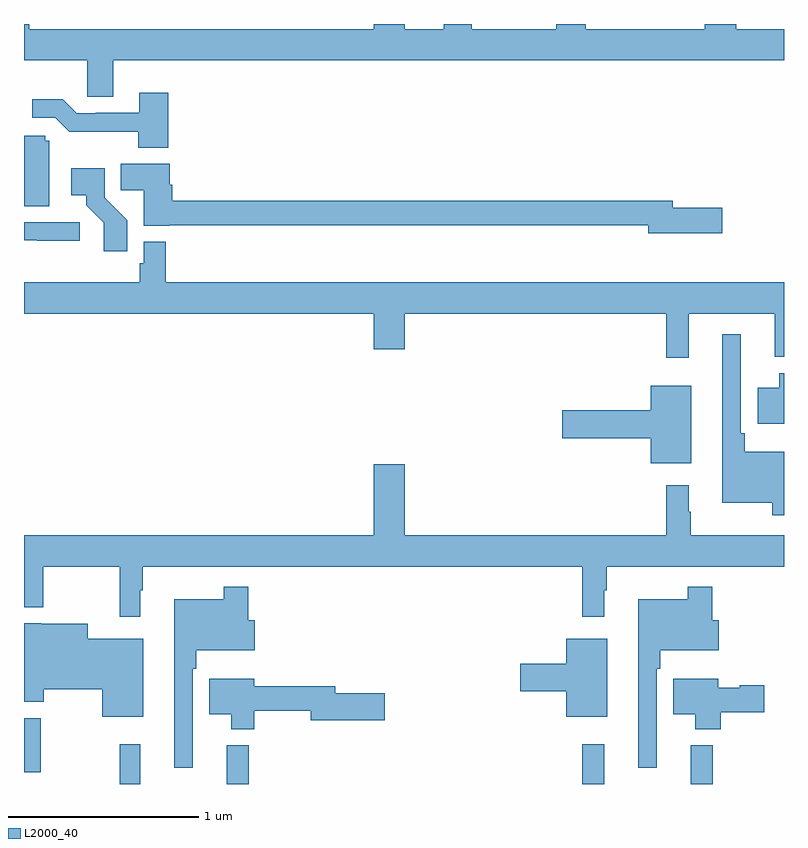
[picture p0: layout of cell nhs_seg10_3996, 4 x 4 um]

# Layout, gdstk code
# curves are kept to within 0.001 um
import gdstk
lib = gdstk.Library(unit=1e-6, precision=1e-09)
def R(c, l, rs):  # rectangles x0, y0, x1, y1
    for r in rs: c.add(gdstk.rectangle(r[:2], r[2:], *l))
def P(c, l, *ps):  # polygons
    for p in ps: c.add(gdstk.Polygon(p, *l))
L2000_40 = (2000, 40)

nhs_seg10_3996 = lib.new_cell('nhs_seg10_3996')
R(nhs_seg10_3996, L2000_40, [(331.503,1304.5,331.613,1304.71), (332.066,1304.5,332.183,1304.704), (333.937,1304.5,334.055,1304.71), (334.508,1304.5,334.625,1304.704), (331,1304.562,331.089,1304.847)])
P(nhs_seg10_3996, L2000_40, [(335,1308.472),(334.748,1308.472),(334.748,1308.5),(334.583,1308.5),(334.583,1308.472),(333.957,1308.472),(333.957,1308.5),(333.802,1308.5),(333.802,1308.472),(333.357,1308.472),(333.357,1308.5),(333.209,1308.5),(333.209,1308.472),(333.004,1308.472),(333.004,1308.5),(332.84,1308.5),(332.84,1308.472),(331.027,1308.472),(331.027,1308.5),(331,1308.5),(331,1308.308),(331.332,1308.308),(331.332,1308.118),(331.471,1308.118),(331.471,1308.308),(335,1308.308)],
  [(331.76,1308.139),(331.607,1308.139),(331.607,1308.033),(331.378,1308.033),(331.378,1308.03),(331.278,1308.03),(331.205,1308.103),(331.044,1308.103),(331.044,1308.006),(331.164,1308.006),(331.237,1307.933),(331.6,1307.934),(331.6,1307.849),(331.76,1307.849)],
  [(331.132,1307.886),(331.113,1307.886),(331.113,1307.913),(331,1307.913),(331,1307.542),(331.132,1307.542)],
  [(334.675,1307.534),(334.414,1307.534),(334.414,1307.57),(331.781,1307.57),(331.781,1307.654),(331.768,1307.654),(331.768,1307.764),(331.51,1307.764),(331.51,1307.626),(331.631,1307.626),(331.631,1307.438),(331.764,1307.438),(331.764,1307.442),(334.286,1307.442),(334.286,1307.399),(334.675,1307.399)],
  [(331.544,1307.466),(331.425,1307.585),(331.425,1307.74),(331.248,1307.74),(331.248,1307.6),(331.328,1307.6),(331.328,1307.545),(331.419,1307.455),(331.419,1307.304),(331.544,1307.304)],
  [(331.294,1307.457),(331,1307.457),(331,1307.361),(331.069,1307.361),(331.069,1307.359),(331.294,1307.359)],
  [(334.499,1306.976),(334.952,1306.976),(334.952,1306.748),(335,1306.748),(335,1307.14),(331.745,1307.14),(331.745,1307.353),(331.629,1307.353),(331.629,1307.241),(331.609,1307.241),(331.609,1307.14),(331,1307.14),(331,1306.976),(332.84,1306.976),(332.84,1306.788),(333.004,1306.788),(333.004,1306.976),(334.381,1306.976),(334.381,1306.743),(334.499,1306.743)],
  [(335,1306.249),(334.793,1306.249),(334.793,1306.345),(334.773,1306.345),(334.773,1306.867),(334.676,1306.867),(334.676,1305.98),(334.938,1305.98),(334.938,1305.915),(335,1305.915)],
  [(335,1306.663),(334.976,1306.663),(334.976,1306.585),(334.862,1306.585),(334.862,1306.397),(335,1306.397)],
  [(334.513,1306.597),(334.298,1306.597),(334.298,1306.466),(333.834,1306.466),(333.834,1306.319),(334.298,1306.319),(334.298,1306.187),(334.513,1306.187)],
  [(331.612,1305.521),(331.624,1305.521),(331.624,1305.644),(333.937,1305.644),(333.937,1305.381),(334.054,1305.381),(334.054,1305.521),(334.066,1305.521),(334.066,1305.644),(335,1305.644),(335,1305.808),(334.51,1305.808),(334.51,1305.932),(334.498,1305.932),(334.498,1306.072),(334.381,1306.072),(334.381,1305.808),(333.004,1305.808),(333.004,1306.183),(332.84,1306.183),(332.84,1305.808),(331,1305.808),(331,1305.431),(331.101,1305.431),(331.101,1305.644),(331.503,1305.644),(331.503,1305.381),(331.612,1305.381)],
  [(331.887,1305.107),(331.907,1305.107),(331.907,1305.203),(332.215,1305.203),(332.215,1305.361),(332.18,1305.361),(332.18,1305.538),(332.052,1305.538),(332.052,1305.472),(331.79,1305.472),(331.79,1304.586),(331.887,1304.586)],
  [(334.329,1305.107),(334.349,1305.107),(334.349,1305.203),(334.657,1305.203),(334.657,1305.361),(334.622,1305.361),(334.622,1305.538),(334.494,1305.538),(334.494,1305.472),(334.232,1305.472),(334.232,1304.586),(334.329,1304.586)],
  [(331.627,1305.265),(331.336,1305.265),(331.336,1305.343),(331.092,1305.343),(331.092,1305.346),(331,1305.346),(331,1304.932),(331.104,1304.932),(331.104,1304.999),(331.412,1304.999),(331.412,1304.855),(331.627,1304.855)],
  [(334.069,1305.265),(333.854,1305.265),(333.854,1305.134),(333.612,1305.134),(333.612,1304.987),(333.854,1304.987),(333.854,1304.855),(334.069,1304.855)],
  [(334.667,1304.878),(334.897,1304.878),(334.897,1305.02),(334.767,1305.02),(334.767,1305.007),(334.654,1305.007),(334.654,1305.055),(334.418,1305.055),(334.418,1304.867),(334.532,1304.867),(334.532,1304.789),(334.667,1304.789)],
  [(332.212,1304.886),(332.51,1304.886),(332.51,1304.836),(332.899,1304.836),(332.899,1304.978),(332.638,1304.978),(332.638,1305.014),(332.212,1305.014),(332.212,1305.055),(331.976,1305.055),(331.976,1304.867),(332.09,1304.867),(332.09,1304.789),(332.212,1304.789)])

lib.write_gds('nhs_seg10_3996.gds')
